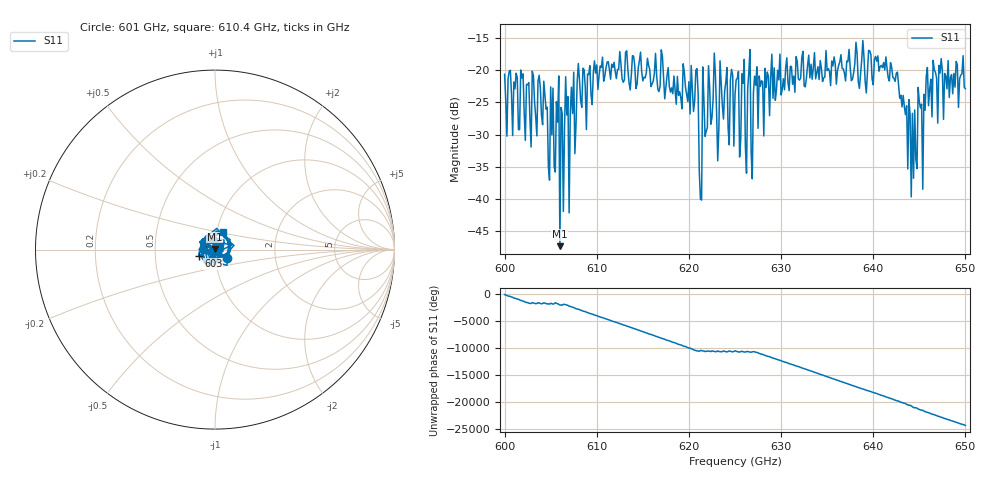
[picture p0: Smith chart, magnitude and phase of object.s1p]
!Created with skrf (http://scikit-rf.org).
# GHz S MA R 50.0
!freq magS11 angS11
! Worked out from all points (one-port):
!   401 points, 600 GHz to 650 GHz, reference 50 ohm
!   lowest |S11| = -47.3 dB at 606 GHz (marker M1), VSWR 1.01, Z = 49.7 + j0.347 ohm
!   |S11| at or under -10 dB: start of sweep to end of sweep
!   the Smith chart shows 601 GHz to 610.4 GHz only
!   S11 on the Smith chart (normalised r, x): 601 GHz: 1.14, -0.11; 603 GHz: 0.83, -0.06; 610.4 GHz: 1.07, +0.21
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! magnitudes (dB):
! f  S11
! 600 GHz  -20.6
! 601 GHz  -21.8
! 603 GHz  -20.2
! 604 GHz  -27.0
! 604.6 GHz  -25.7
! 606 GHz  -47.3
! 606.2 GHz  -26.7
! 606.4 GHz  -41.9
! 608.1 GHz  -21.5
! 610.4 GHz  -19.3
! 612.5 GHz  -17.1
! 618.8 GHz  -21.0
! 620.8 GHz  -20.0
! 621.1 GHz  -35.8
! 621.4 GHz  -40.2
! 621.8 GHz  -30.3
! 622.8 GHz  -17.3
! 623.2 GHz  -29.0
! 625 GHz  -23.8
! 627 GHz  -23.4
! 627.4 GHz  -19.5
! 631.2 GHz  -22.2
! 637.5 GHz  -19.5
! 641.2 GHz  -20.0
! 643.8 GHz  -35.3
! 644.4 GHz  -36.8
! 646 GHz  -25.5
! 650 GHz  -22.9
